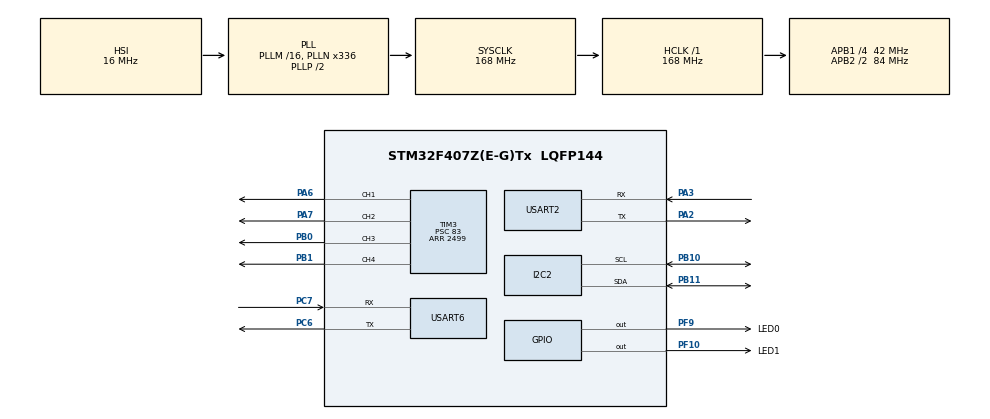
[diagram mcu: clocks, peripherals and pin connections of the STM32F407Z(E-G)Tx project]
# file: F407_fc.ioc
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I2C2.I2C_Mode=I2C_Fast
Mcu.Family=STM32F4
Mcu.Name=STM32F407Z(E-G)Tx
Mcu.Package=LQFP144
NVIC.PriorityGroup=NVIC_PRIORITYGROUP_4
NVIC.TIM6_DAC_IRQn=true\:0\:0\:false\:false\:true\:true\:true\:true
NVIC.USART2_IRQn=true\:0\:0\:false\:false\:true\:true\:true\:true
NVIC.USART6_IRQn=true\:1\:0\:false\:false\:true\:true\:true\:true
PA13.Mode=Serial_Wire
PA13.Signal=SYS_JTMS-SWDIO
PA14.Mode=Serial_Wire
PA14.Signal=SYS_JTCK-SWCLK
PA2.Mode=Asynchronous
PA2.Signal=USART2_TX
PA3.Mode=Asynchronous
PA3.Signal=USART2_RX
PA6.Signal=S_TIM3_CH1
PA7.Signal=S_TIM3_CH2
PB0.Signal=S_TIM3_CH3
PB1.Signal=S_TIM3_CH4
PB10.Mode=I2C
PB10.Signal=I2C2_SCL
PB11.Mode=I2C
PB11.Signal=I2C2_SDA
PC6.Mode=Asynchronous
PC6.Signal=USART6_TX
PC7.Mode=Asynchronous
PC7.Signal=USART6_RX
PF10.GPIO_Label=LED1
PF10.Signal=GPIO_Output
PF9.GPIO_Label=LED0
PF9.Signal=GPIO_Output
ProjectManager.HeapSize=0x200
ProjectManager.StackSize=0x400
ProjectManager.TargetToolchain=MDK-ARM V5.32
RCC.48MHZClocksFreq_Value=84000000
RCC.AHBFreq_Value=168000000
RCC.APB1CLKDivider=RCC_HCLK_DIV4
RCC.APB1Freq_Value=42000000
RCC.APB1TimFreq_Value=84000000
RCC.APB2CLKDivider=RCC_HCLK_DIV2
RCC.APB2Freq_Value=84000000
RCC.APB2TimFreq_Value=168000000
RCC.CortexFreq_Value=168000000
RCC.HCLKFreq_Value=168000000
RCC.HSE_VALUE=25000000
RCC.HSI_VALUE=16000000
RCC.LSE_VALUE=32768
RCC.PLLN=336
RCC.SYSCLKFreq_VALUE=168000000
RCC.SYSCLKSource=RCC_SYSCLKSOURCE_PLLCLK
RCC.VCOOutputFreq_Value=336000000
SH.S_TIM3_CH1.0=TIM3_CH1,PWM Generation1 CH1
SH.S_TIM3_CH2.0=TIM3_CH2,PWM Generation2 CH2
SH.S_TIM3_CH3.0=TIM3_CH3,PWM Generation3 CH3
SH.S_TIM3_CH4.0=TIM3_CH4,PWM Generation4 CH4
TIM3.AutoReloadPreload=TIM_AUTORELOAD_PRELOAD_ENABLE
TIM3.Channel-PWM\ Generation1\ CH1=TIM_CHANNEL_1
TIM3.Channel-PWM\ Generation2\ CH2=TIM_CHANNEL_2
TIM3.Channel-PWM\ Generation3\ CH3=TIM_CHANNEL_3
TIM3.Channel-PWM\ Generation4\ CH4=TIM_CHANNEL_4
TIM3.ClockDivision=TIM_CLOCKDIVISION_DIV1
TIM3.Period=2499
TIM3.Prescaler=83
TIM3.Pulse-PWM\ Generation1\ CH1=1000
TIM3.Pulse-PWM\ Generation2\ CH2=1000
TIM3.Pulse-PWM\ Generation3\ CH3=1000
TIM3.Pulse-PWM\ Generation4\ CH4=1000
TIM6.Period=999
TIM6.Prescaler=83
USART2.VirtualMode=VM_ASYNC
USART6.VirtualMode=VM_ASYNC
VP_TIM6_VS_ClockSourceINT.Mode=Enable_Timer
board=custom

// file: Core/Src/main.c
/* USER CODE BEGIN Header */
/**
  ******************************************************************************
  * @file           : main.c
  * @brief          : Main program body
  ******************************************************************************
  * @attention
  *
  * Copyright (c) 2026 STMicroelectronics.
  * All rights reserved.
  *
  * This software is licensed under terms that can be found in the LICENSE file
  * in the root directory of this software component.
  * If no LICENSE file comes with this software, it is provided AS-IS.
  *
  ******************************************************************************
  */
/* USER CODE END Header */
#include "main.h"

/* USER CODE BEGIN Includes */

#include "app_main.h"
#include "app_scheduler.h"
#include "bsp_esp_uart.h"
#include "drv_ibus.h"
#include "fc_link_service.h"

/* USER CODE END Includes */

I2C_HandleTypeDef hi2c2;

TIM_HandleTypeDef htim3;
TIM_HandleTypeDef htim6;

UART_HandleTypeDef huart2;
UART_HandleTypeDef huart6;

/* USER CODE BEGIN PV */

static uint8_t s_ibus_rx_byte;
volatile FcStatus_t g_app_init_status;
volatile HAL_StatusTypeDef g_ibus_uart_rx_status;
volatile uint32_t g_ibus_uart_error_count;
volatile uint32_t g_ibus_uart_last_error;

/* USER CODE END PV */

void SystemClock_Config(void);
static void MX_GPIO_Init(void);
static void MX_TIM3_Init(void);
static void MX_TIM6_Init(void);
static void MX_USART2_UART_Init(void);
static void MX_USART6_UART_Init(void);
static void MX_I2C2_Init(void);

int main(void)
{

  /* MCU Configuration--------------------------------------------------------*/

  /* Reset of all peripherals, Initializes the Flash interface and the Systick. */
  HAL_Init();

  /* Configure the system clock */
  SystemClock_Config();

  /* Initialize all configured peripherals */
  MX_GPIO_Init();
  MX_TIM3_Init();
  MX_TIM6_Init();
  MX_USART2_UART_Init();
  MX_USART6_UART_Init();
  MX_I2C2_Init();
  /* USER CODE BEGIN 2 */
  g_app_init_status = App_Init();

  if ((BSP_EspUart_Init(&huart6) != FC_STATUS_OK) ||
      (FcLink_Init() != FC_STATUS_OK))
  {
    Error_Handler();
  }

  g_ibus_uart_error_count = 0U;
  g_ibus_uart_last_error = HAL_UART_ERROR_NONE;
  g_ibus_uart_rx_status = HAL_UART_Receive_IT(&huart2,
                                              &s_ibus_rx_byte,
                                              1U);
  if (g_ibus_uart_rx_status != HAL_OK)
  {
    Error_Handler();
  }

  if (HAL_TIM_Base_Start_IT(&htim6) != HAL_OK)
  {
    Error_Handler();
  }

  /* USER CODE END 2 */

  /* Infinite loop */
  while (1)
  {

    /* USER CODE BEGIN 3 */
    App_Loop();
  }
  /* USER CODE END 3 */
}

void SystemClock_Config(void)
{
  RCC_OscInitTypeDef RCC_OscInitStruct = {0};
  RCC_ClkInitTypeDef RCC_ClkInitStruct = {0};

  /** Configure the main internal regulator output voltage
  */
  __HAL_RCC_PWR_CLK_ENABLE();
  __HAL_PWR_VOLTAGESCALING_CONFIG(PWR_REGULATOR_VOLTAGE_SCALE1);

  /** Initializes the RCC Oscillators according to the specified parameters
  * in the RCC_OscInitTypeDef structure.
  */
  RCC_OscInitStruct.OscillatorType = RCC_OSCILLATORTYPE_HSI;
  RCC_OscInitStruct.HSIState = RCC_HSI_ON;
  RCC_OscInitStruct.HSICalibrationValue = RCC_HSICALIBRATION_DEFAULT;
  RCC_OscInitStruct.PLL.PLLState = RCC_PLL_ON;
  RCC_OscInitStruct.PLL.PLLSource = RCC_PLLSOURCE_HSI;
  RCC_OscInitStruct.PLL.PLLM = 16;
  RCC_OscInitStruct.PLL.PLLN = 336;
  RCC_OscInitStruct.PLL.PLLP = RCC_PLLP_DIV2;
  RCC_OscInitStruct.PLL.PLLQ = 4;
  if (HAL_RCC_OscConfig(&RCC_OscInitStruct) != HAL_OK)
  {
    Error_Handler();
  }

  /** Initializes the CPU, AHB and APB buses clocks
  */
  RCC_ClkInitStruct.ClockType = RCC_CLOCKTYPE_HCLK|RCC_CLOCKTYPE_SYSCLK
                              |RCC_CLOCKTYPE_PCLK1|RCC_CLOCKTYPE_PCLK2;
  RCC_ClkInitStruct.SYSCLKSource = RCC_SYSCLKSOURCE_PLLCLK;
  RCC_ClkInitStruct.AHBCLKDivider = RCC_SYSCLK_DIV1;
  RCC_ClkInitStruct.APB1CLKDivider = RCC_HCLK_DIV4;
  RCC_ClkInitStruct.APB2CLKDivider = RCC_HCLK_DIV2;

  if (HAL_RCC_ClockConfig(&RCC_ClkInitStruct, FLASH_LATENCY_5) != HAL_OK)
  {
    Error_Handler();
  }
}

static void MX_I2C2_Init(void)
{

  hi2c2.Instance = I2C2;
  hi2c2.Init.ClockSpeed = 400000;
  hi2c2.Init.DutyCycle = I2C_DUTYCYCLE_2;
  hi2c2.Init.OwnAddress1 = 0;
  hi2c2.Init.AddressingMode = I2C_ADDRESSINGMODE_7BIT;
  hi2c2.Init.DualAddressMode = I2C_DUALADDRESS_DISABLE;
  hi2c2.Init.OwnAddress2 = 0;
  hi2c2.Init.GeneralCallMode = I2C_GENERALCALL_DISABLE;
  hi2c2.Init.NoStretchMode = I2C_NOSTRETCH_DISABLE;
  if (HAL_I2C_Init(&hi2c2) != HAL_OK)
  {
    Error_Handler();
  }

}

static void MX_TIM3_Init(void)
{

  TIM_MasterConfigTypeDef sMasterConfig = {0};
  TIM_OC_InitTypeDef sConfigOC = {0};

  htim3.Instance = TIM3;
  htim3.Init.Prescaler = 83;
  htim3.Init.CounterMode = TIM_COUNTERMODE_UP;
  htim3.Init.Period = 2499;
  htim3.Init.ClockDivision = TIM_CLOCKDIVISION_DIV1;
  htim3.Init.AutoReloadPreload = TIM_AUTORELOAD_PRELOAD_ENABLE;
  if (HAL_TIM_PWM_Init(&htim3) != HAL_OK)
  {
    Error_Handler();
  }
  sMasterConfig.MasterOutputTrigger = TIM_TRGO_RESET;
  sMasterConfig.MasterSlaveMode = TIM_MASTERSLAVEMODE_DISABLE;
  if (HAL_TIMEx_MasterConfigSynchronization(&htim3, &sMasterConfig) != HAL_OK)
  {
    Error_Handler();
  }
  sConfigOC.OCMode = TIM_OCMODE_PWM1;
  sConfigOC.Pulse = 1000;
  sConfigOC.OCPolarity = TIM_OCPOLARITY_HIGH;
  sConfigOC.OCFastMode = TIM_OCFAST_DISABLE;
  if (HAL_TIM_PWM_ConfigChannel(&htim3, &sConfigOC, TIM_CHANNEL_1) != HAL_OK)
  {
    Error_Handler();
  }
  if (HAL_TIM_PWM_ConfigChannel(&htim3, &sConfigOC, TIM_CHANNEL_2) != HAL_OK)
  {
    Error_Handler();
  }
  if (HAL_TIM_PWM_ConfigChannel(&htim3, &sConfigOC, TIM_CHANNEL_3) != HAL_OK)
  {
    Error_Handler();
  }
  if (HAL_TIM_PWM_ConfigChannel(&htim3, &sConfigOC, TIM_CHANNEL_4) != HAL_OK)
  {
    Error_Handler();
  }
  HAL_TIM_MspPostInit(&htim3);

}

static void MX_TIM6_Init(void)
{

  TIM_MasterConfigTypeDef sMasterConfig = {0};

  htim6.Instance = TIM6;
  htim6.Init.Prescaler = 83;
  htim6.Init.CounterMode = TIM_COUNTERMODE_UP;
  htim6.Init.Period = 999;
  htim6.Init.AutoReloadPreload = TIM_AUTORELOAD_PRELOAD_DISABLE;
  if (HAL_TIM_Base_Init(&htim6) != HAL_OK)
  {
    Error_Handler();
  }
  sMasterConfig.MasterOutputTrigger = TIM_TRGO_RESET;
  sMasterConfig.MasterSlaveMode = TIM_MASTERSLAVEMODE_DISABLE;
  if (HAL_TIMEx_MasterConfigSynchronization(&htim6, &sMasterConfig) != HAL_OK)
  {
    Error_Handler();
  }

}

static void MX_USART2_UART_Init(void)
{

  huart2.Instance = USART2;
  huart2.Init.BaudRate = 115200;
  huart2.Init.WordLength = UART_WORDLENGTH_8B;
  huart2.Init.StopBits = UART_STOPBITS_1;
  huart2.Init.Parity = UART_PARITY_NONE;
  huart2.Init.Mode = UART_MODE_TX_RX;
  huart2.Init.HwFlowCtl = UART_HWCONTROL_NONE;
  huart2.Init.OverSampling = UART_OVERSAMPLING_16;
  if (HAL_UART_Init(&huart2) != HAL_OK)
  {
    Error_Handler();
  }

}

static void MX_USART6_UART_Init(void)
{

  huart6.Instance = USART6;
  huart6.Init.BaudRate = 115200;
  huart6.Init.WordLength = UART_WORDLENGTH_8B;
  huart6.Init.StopBits = UART_STOPBITS_1;
  huart6.Init.Parity = UART_PARITY_NONE;
  huart6.Init.Mode = UART_MODE_TX_RX;
  huart6.Init.HwFlowCtl = UART_HWCONTROL_NONE;
  huart6.Init.OverSampling = UART_OVERSAMPLING_16;
  if (HAL_UART_Init(&huart6) != HAL_OK)
  {
    Error_Handler();
  }

}

static void MX_GPIO_Init(void)
{
  GPIO_InitTypeDef GPIO_InitStruct = {0};

  /* GPIO Ports Clock Enable */
  __HAL_RCC_GPIOF_CLK_ENABLE();
  __HAL_RCC_GPIOA_CLK_ENABLE();
  __HAL_RCC_GPIOB_CLK_ENABLE();
  __HAL_RCC_GPIOC_CLK_ENABLE();

  /*Configure GPIO pin Output Level */
  HAL_GPIO_WritePin(GPIOF, LED0_Pin|LED1_Pin, GPIO_PIN_RESET);

  /*Configure GPIO pins : LED0_Pin LED1_Pin */
  GPIO_InitStruct.Pin = LED0_Pin|LED1_Pin;
  GPIO_InitStruct.Mode = GPIO_MODE_OUTPUT_PP;
  GPIO_InitStruct.Pull = GPIO_NOPULL;
  GPIO_InitStruct.Speed = GPIO_SPEED_FREQ_LOW;
  HAL_GPIO_Init(GPIOF, &GPIO_InitStruct);

}

/* USER CODE BEGIN 4 */

void HAL_TIM_PeriodElapsedCallback(TIM_HandleTypeDef *htim)
{
    if (htim->Instance == TIM6)
    {
        App_Scheduler1msTick();
    }
}

void HAL_UART_RxCpltCallback(UART_HandleTypeDef *huart)
{
    if (huart->Instance == USART6)
    {
        BSP_EspUart_OnRxComplete(huart);
    }
    else if (huart->Instance == USART2)
    {
        (void)Drv_Ibus_ProcessByte(s_ibus_rx_byte,
                                   App_SchedulerGetTickMs());

        g_ibus_uart_rx_status = HAL_UART_Receive_IT(huart,
                                                    &s_ibus_rx_byte,
                                                    1U);
    }
}

void HAL_UART_TxCpltCallback(UART_HandleTypeDef *huart)
{
    if (huart->Instance == USART6)
    {
        BSP_EspUart_OnTxComplete(huart);
    }
}

void HAL_UART_ErrorCallback(UART_HandleTypeDef *huart)
{
    if (huart->Instance == USART6)
    {
        BSP_EspUart_OnError(huart);
    }
    else if (huart->Instance == USART2)
    {
        g_ibus_uart_last_error = huart->ErrorCode;
        if (g_ibus_uart_error_count != UINT32_MAX)
        {
            ++g_ibus_uart_error_count;
        }

        if (huart->RxState == HAL_UART_STATE_READY)
        {
            g_ibus_uart_rx_status = HAL_UART_Receive_IT(huart,
                                                        &s_ibus_rx_byte,
                                                        1U);
        }
        else
        {
            /* Some recoverable UART errors leave the current receive active. */
            g_ibus_uart_rx_status = HAL_OK;
        }
    }
}

/* USER CODE END 4 */

void Error_Handler(void)
{
  __disable_irq();
  while (1)
  {
  }
}
